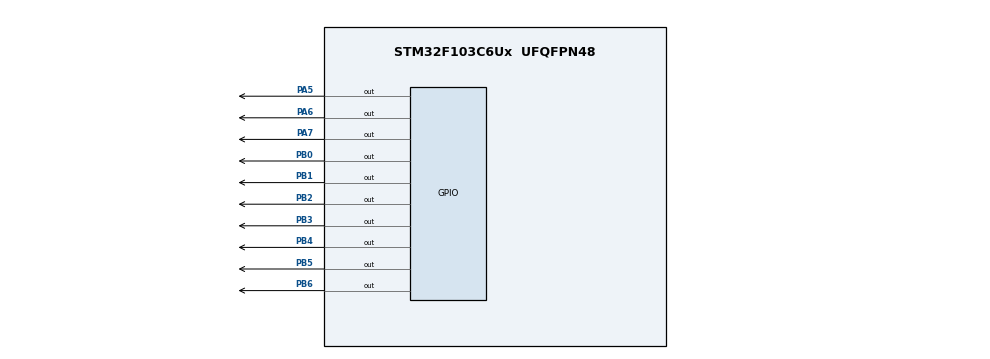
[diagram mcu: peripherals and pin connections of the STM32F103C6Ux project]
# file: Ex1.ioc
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Mcu.Family=STM32F1
Mcu.Name=STM32F103C6Ux
Mcu.Package=UFQFPN48
NVIC.PriorityGroup=NVIC_PRIORITYGROUP_4
NVIC.TIM2_IRQn=true\:0\:0\:false\:false\:true\:true\:true
PA5.Signal=GPIO_Output
PA6.PinState=GPIO_PIN_RESET
PA6.Signal=GPIO_Output
PA7.Signal=GPIO_Output
PB0.Signal=GPIO_Output
PB1.Signal=GPIO_Output
PB2.Signal=GPIO_Output
PB3.Signal=GPIO_Output
PB4.Signal=GPIO_Output
PB5.Signal=GPIO_Output
PB6.Signal=GPIO_Output
ProjectManager.HeapSize=0x200
ProjectManager.StackSize=0x400
ProjectManager.TargetToolchain=STM32CubeIDE
RCC.APB1Freq_Value=8000000
RCC.APB2Freq_Value=8000000
TIM2.Period=9
TIM2.Prescaler=7999
VP_SYS_VS_ND.Mode=No_Debug
VP_TIM2_VS_ClockSourceINT.Mode=Internal
board=custom

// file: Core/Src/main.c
/* USER CODE BEGIN Header */
/**
  ******************************************************************************
  * @file           : main.c
  * @brief          : Main program body
  ******************************************************************************
  * @attention
  *
  * <h2><center>&copy; Copyright (c) 2026 STMicroelectronics.
  * All rights reserved.</center></h2>
  *
  * This software component is licensed by ST under BSD 3-Clause license,
  * the "License"; You may not use this file except in compliance with the
  * License. You may obtain a copy of the License at:
  *                        opensource.org/licenses/BSD-3-Clause
  *
  ******************************************************************************
  */
/* USER CODE END Header */
#include "main.h"

TIM_HandleTypeDef htim2;

void SystemClock_Config(void);
static void MX_GPIO_Init(void);
static void MX_TIM2_Init(void);

/* USER CODE BEGIN 0 */
int led_index = 0;
int timer_counter = 0;
/* USER CODE END 0 */

void display7SEG(int num) {
    uint8_t segCode[10] = {0xC0, 0xF9, 0xA4, 0xB0, 0x99, 0x92, 0x82, 0xF8, 0x80, 0x90};
    if (num >= 0 && num <= 9) {
        for (int i = 0; i < 7; i++) {
            GPIO_PinState state = (segCode[num] & (1 << i)) ? GPIO_PIN_SET : GPIO_PIN_RESET;
            HAL_GPIO_WritePin(GPIOB, GPIO_PIN_0 << i, state);
        }
    }
}
int main(void)
{

  /* MCU Configuration--------------------------------------------------------*/

  /* Reset of all peripherals, Initializes the Flash interface and the Systick. */
  HAL_Init();

  /* Configure the system clock */
  SystemClock_Config();

  /* Initialize all configured peripherals */
  MX_GPIO_Init();
  MX_TIM2_Init();
  /* USER CODE BEGIN 2 */
  HAL_TIM_Base_Start_IT(&htim2);
  /* USER CODE END 2 */

  /* Infinite loop */
  while (1)
  {

  }
}

void SystemClock_Config(void)
{
  RCC_OscInitTypeDef RCC_OscInitStruct = {0};
  RCC_ClkInitTypeDef RCC_ClkInitStruct = {0};

  /** Initializes the RCC Oscillators according to the specified parameters
  * in the RCC_OscInitTypeDef structure.
  */
  RCC_OscInitStruct.OscillatorType = RCC_OSCILLATORTYPE_HSI;
  RCC_OscInitStruct.HSIState = RCC_HSI_ON;
  RCC_OscInitStruct.HSICalibrationValue = RCC_HSICALIBRATION_DEFAULT;
  RCC_OscInitStruct.PLL.PLLState = RCC_PLL_NONE;
  if (HAL_RCC_OscConfig(&RCC_OscInitStruct) != HAL_OK)
  {
    Error_Handler();
  }
  /** Initializes the CPU, AHB and APB buses clocks
  */
  RCC_ClkInitStruct.ClockType = RCC_CLOCKTYPE_HCLK|RCC_CLOCKTYPE_SYSCLK
                              |RCC_CLOCKTYPE_PCLK1|RCC_CLOCKTYPE_PCLK2;
  RCC_ClkInitStruct.SYSCLKSource = RCC_SYSCLKSOURCE_HSI;
  RCC_ClkInitStruct.AHBCLKDivider = RCC_SYSCLK_DIV1;
  RCC_ClkInitStruct.APB1CLKDivider = RCC_HCLK_DIV1;
  RCC_ClkInitStruct.APB2CLKDivider = RCC_HCLK_DIV1;

  if (HAL_RCC_ClockConfig(&RCC_ClkInitStruct, FLASH_LATENCY_0) != HAL_OK)
  {
    Error_Handler();
  }
}

static void MX_TIM2_Init(void)
{

  TIM_ClockConfigTypeDef sClockSourceConfig = {0};
  TIM_MasterConfigTypeDef sMasterConfig = {0};

  htim2.Instance = TIM2;
  htim2.Init.Prescaler = 7999;
  htim2.Init.CounterMode = TIM_COUNTERMODE_UP;
  htim2.Init.Period = 9;
  htim2.Init.ClockDivision = TIM_CLOCKDIVISION_DIV1;
  htim2.Init.AutoReloadPreload = TIM_AUTORELOAD_PRELOAD_DISABLE;
  if (HAL_TIM_Base_Init(&htim2) != HAL_OK)
  {
    Error_Handler();
  }
  sClockSourceConfig.ClockSource = TIM_CLOCKSOURCE_INTERNAL;
  if (HAL_TIM_ConfigClockSource(&htim2, &sClockSourceConfig) != HAL_OK)
  {
    Error_Handler();
  }
  sMasterConfig.MasterOutputTrigger = TIM_TRGO_RESET;
  sMasterConfig.MasterSlaveMode = TIM_MASTERSLAVEMODE_DISABLE;
  if (HAL_TIMEx_MasterConfigSynchronization(&htim2, &sMasterConfig) != HAL_OK)
  {
    Error_Handler();
  }

}

static void MX_GPIO_Init(void)
{
  GPIO_InitTypeDef GPIO_InitStruct = {0};

  /* GPIO Ports Clock Enable */
  __HAL_RCC_GPIOA_CLK_ENABLE();
  __HAL_RCC_GPIOB_CLK_ENABLE();

  /*Configure GPIO pin Output Level */
  HAL_GPIO_WritePin(GPIOA, GPIO_PIN_5|GPIO_PIN_6|GPIO_PIN_7, GPIO_PIN_RESET);

  /*Configure GPIO pin Output Level */
  HAL_GPIO_WritePin(GPIOB, GPIO_PIN_0|GPIO_PIN_1|GPIO_PIN_2|GPIO_PIN_3
                          |GPIO_PIN_4|GPIO_PIN_5|GPIO_PIN_6, GPIO_PIN_RESET);

  /*Configure GPIO pins : PA5 PA6 PA7 */
  GPIO_InitStruct.Pin = GPIO_PIN_5|GPIO_PIN_6|GPIO_PIN_7;
  GPIO_InitStruct.Mode = GPIO_MODE_OUTPUT_PP;
  GPIO_InitStruct.Pull = GPIO_NOPULL;
  GPIO_InitStruct.Speed = GPIO_SPEED_FREQ_LOW;
  HAL_GPIO_Init(GPIOA, &GPIO_InitStruct);

  /*Configure GPIO pins : PB0 PB1 PB2 PB3
                           PB4 PB5 PB6 */
  GPIO_InitStruct.Pin = GPIO_PIN_0|GPIO_PIN_1|GPIO_PIN_2|GPIO_PIN_3
                          |GPIO_PIN_4|GPIO_PIN_5|GPIO_PIN_6;
  GPIO_InitStruct.Mode = GPIO_MODE_OUTPUT_PP;
  GPIO_InitStruct.Pull = GPIO_NOPULL;
  GPIO_InitStruct.Speed = GPIO_SPEED_FREQ_LOW;
  HAL_GPIO_Init(GPIOB, &GPIO_InitStruct);

}

/* USER CODE BEGIN 4 */
void HAL_TIM_PeriodElapsedCallback(TIM_HandleTypeDef *htim)
{
    if (htim->Instance == TIM2)
    {
        timer_counter++;
        if (timer_counter >= 50)  // 50 * 10ms = 500ms
        {
            timer_counter = 0;
            led_index = !led_index;
        }

        if (led_index == 0)
        {
            HAL_GPIO_WritePin(GPIOA, GPIO_PIN_6, GPIO_PIN_RESET); // Bật LED 1
            HAL_GPIO_WritePin(GPIOA, GPIO_PIN_7, GPIO_PIN_SET);   // Tắt LED 2
            display7SEG(1);
        }
        else
        {
            HAL_GPIO_WritePin(GPIOA, GPIO_PIN_6, GPIO_PIN_SET);   // Tắt LED 1
            HAL_GPIO_WritePin(GPIOA, GPIO_PIN_7, GPIO_PIN_RESET); // Bật LED 2
            display7SEG(2);
        }
    }
}
/* USER CODE END 4 */

void Error_Handler(void)
{
  __disable_irq();
  while (1)
  {
  }
}

/************************ (C) COPYRIGHT STMicroelectronics *****END OF FILE****/
